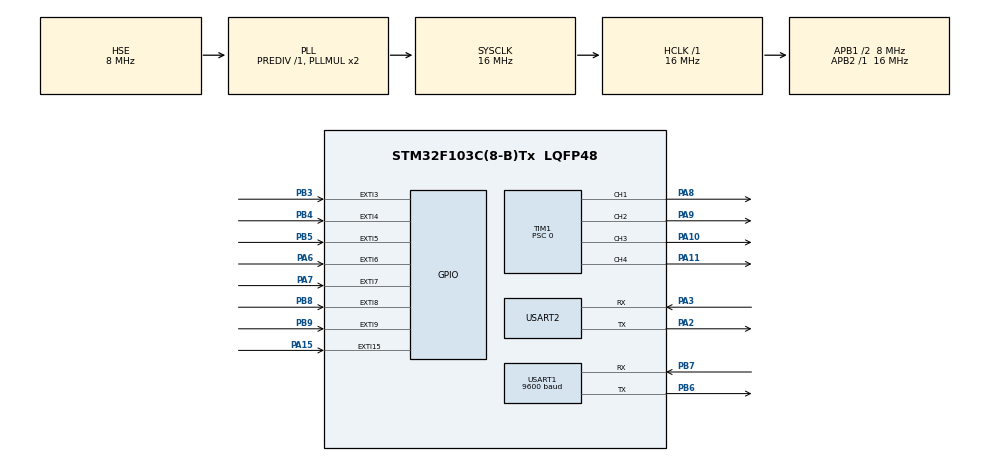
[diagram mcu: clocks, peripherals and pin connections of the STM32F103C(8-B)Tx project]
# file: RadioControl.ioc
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Mcu.Family=STM32F1
Mcu.Name=STM32F103C(8-B)Tx
Mcu.Package=LQFP48
NVIC.EXTI15_10_IRQn=true\:0\:0\:false\:false\:true\:true\:true\:true
NVIC.EXTI3_IRQn=true\:0\:0\:false\:false\:true\:true\:true\:true
NVIC.EXTI4_IRQn=true\:0\:0\:false\:false\:true\:true\:true\:true
NVIC.EXTI9_5_IRQn=true\:0\:0\:false\:false\:true\:true\:true\:true
NVIC.PriorityGroup=NVIC_PRIORITYGROUP_4
NVIC.TIM2_IRQn=true\:0\:0\:false\:false\:true\:true\:true\:true
PA10.Signal=S_TIM1_CH3
PA11.Signal=S_TIM1_CH4
PA13.Mode=Serial_Wire
PA13.Signal=SYS_JTMS-SWDIO
PA14.Mode=Serial_Wire
PA14.Signal=SYS_JTCK-SWCLK
PA15.GPIO_ModeDefaultEXTI=GPIO_MODE_IT_RISING_FALLING
PA15.Signal=GPXTI15
PA2.Mode=Asynchronous
PA2.Signal=USART2_TX
PA3.Mode=Asynchronous
PA3.Signal=USART2_RX
PA6.GPIO_ModeDefaultEXTI=GPIO_MODE_IT_RISING_FALLING
PA6.Signal=GPXTI6
PA7.GPIO_ModeDefaultEXTI=GPIO_MODE_IT_RISING_FALLING
PA7.Signal=GPXTI7
PA8.Signal=S_TIM1_CH1
PA9.Signal=S_TIM1_CH2
PB3.GPIO_ModeDefaultEXTI=GPIO_MODE_IT_RISING_FALLING
PB3.Signal=GPXTI3
PB4.GPIO_ModeDefaultEXTI=GPIO_MODE_IT_RISING_FALLING
PB4.Signal=GPXTI4
PB5.GPIO_ModeDefaultEXTI=GPIO_MODE_IT_RISING_FALLING
PB5.Signal=GPXTI5
PB6.Mode=Asynchronous
PB6.Signal=USART1_TX
PB7.Mode=Asynchronous
PB7.Signal=USART1_RX
PB8.GPIO_ModeDefaultEXTI=GPIO_MODE_IT_RISING_FALLING
PB8.Signal=GPXTI8
PB9.GPIO_ModeDefaultEXTI=GPIO_MODE_IT_RISING_FALLING
PB9.Signal=GPXTI9
PD0-OSC_IN.Mode=HSE-External-Oscillator
PD0-OSC_IN.Signal=RCC_OSC_IN
PD1-OSC_OUT.Mode=HSE-External-Oscillator
PD1-OSC_OUT.Signal=RCC_OSC_OUT
ProjectManager.HeapSize=0x200
ProjectManager.StackSize=0x400
ProjectManager.TargetToolchain=STM32CubeIDE
RCC.AHBFreq_Value=16000000
RCC.APB1CLKDivider=RCC_HCLK_DIV2
RCC.APB1Freq_Value=8000000
RCC.APB1TimFreq_Value=16000000
RCC.APB2Freq_Value=16000000
RCC.APB2TimFreq_Value=16000000
RCC.HCLKFreq_Value=16000000
RCC.PLLSourceVirtual=RCC_PLLSOURCE_HSE
RCC.SYSCLKFreq_VALUE=16000000
RCC.SYSCLKSource=RCC_SYSCLKSOURCE_PLLCLK
RCC.USBFreq_Value=16000000
SH.S_TIM1_CH1.0=TIM1_CH1,PWM Generation1 CH1
SH.S_TIM1_CH2.0=TIM1_CH2,PWM Generation2 CH2
SH.S_TIM1_CH3.0=TIM1_CH3,PWM Generation3 CH3
SH.S_TIM1_CH4.0=TIM1_CH4,PWM Generation4 CH4
TIM1.Channel-PWM\ Generation1\ CH1=TIM_CHANNEL_1
TIM1.Channel-PWM\ Generation2\ CH2=TIM_CHANNEL_2
TIM1.Channel-PWM\ Generation3\ CH3=TIM_CHANNEL_3
TIM1.Channel-PWM\ Generation4\ CH4=TIM_CHANNEL_4
TIM1.Prescaler=0
TIM2.Period=128
TIM2.Prescaler=0
USART1.BaudRate=9600
USART1.VirtualMode=VM_ASYNC
USART2.VirtualMode=VM_ASYNC
VP_TIM2_VS_ClockSourceINT.Mode=Internal
board=custom

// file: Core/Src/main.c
/* USER CODE BEGIN Header */
/**
  ******************************************************************************
  * @file           : main.c
  * @brief          : Main program body
  ******************************************************************************
  * @attention
  *
  * Copyright (c) 2024 STMicroelectronics.
  * All rights reserved.
  *
  * This software is licensed under terms that can be found in the LICENSE file
  * in the root directory of this software component.
  * If no LICENSE file comes with this software, it is provided AS-IS.
  *
  ******************************************************************************
  */
/* USER CODE END Header */
#include "main.h"

 TIM_HandleTypeDef htim1;
TIM_HandleTypeDef htim2;

UART_HandleTypeDef huart1;
UART_HandleTypeDef huart2;

void SystemClock_Config(void);
static void MX_GPIO_Init(void);
static void MX_TIM1_Init(void);
static void MX_USART1_UART_Init(void);
static void MX_USART2_UART_Init(void);
static void MX_TIM2_Init(void);

/* USER CODE BEGIN 0 */
#define RC_NUM_CHANNELS 8

// Set up our receiver channels - these are the channels from the receiver
#define RC_CH1  0 // Right Stick LR
#define RC_CH2  1 // Right Stick UD
#define RC_CH3  2 // Left  Stick UD
#define RC_CH4  3 // Left  Stick LR
#define RC_CH5  4 // Left  Stick LR
#define RC_CH6  5 // Left  Stick LR
#define RC_CH7  6 // Left  Stick LR
#define RC_CH8  7 // Left  Stick LR

// Set up our channel pins - these are the pins that we connect to the receiver
#define RC_CH1_INPUT  GPIO_PIN_9 // receiver pin 1
#define RC_CH2_INPUT  GPIO_PIN_8 // receiver pin 2
#define RC_CH3_INPUT  GPIO_PIN_7 // receiver pin 3
#define RC_CH4_INPUT  GPIO_PIN_6 // receiver pin 4
#define RC_CH5_INPUT  GPIO_PIN_5 // receiver pin 1
#define RC_CH6_INPUT  GPIO_PIN_4 // receiver pin 2
#define RC_CH7_INPUT  GPIO_PIN_3 // receiver pin 3
#define RC_CH8_INPUT  GPIO_PIN_15 // receiver pin 4

#define RC_CH1_PORT  GPIOB // receiver pin 1
#define RC_CH2_PORT  GPIOB // receiver pin 2
#define RC_CH3_PORT  GPIOA // receiver pin 3
#define RC_CH4_PORT  GPIOA // receiver pin 4
#define RC_CH5_PORT  GPIOB // receiver pin 1
#define RC_CH6_PORT  GPIOB // receiver pin 2
#define RC_CH7_PORT  GPIOB // receiver pin 3
#define RC_CH8_PORT  GPIOA // receiver pin 4

#define RC_ON 1
#define RC_OFF 0

uint8_t RC_State = RC_OFF;

// Set up some arrays to store our pulse starts and widths
uint16_t RC_VALUES[RC_NUM_CHANNELS];
uint32_t RC_START[RC_NUM_CHANNELS];
uint16_t RC_SHARED[RC_NUM_CHANNELS];

uint32_t micros = 0;
#define MAX_MOTOR_SPEED 15000
int z = 0, cnt = -1, x=0, y=0;
uint8_t bt, tmp[100];
uint8_t Rx_flag = 0;
int pot;
#define RX2_Size 8
uint8_t Rx2_Buff[RX2_Size];
float Pitch=0, Roll=0, Heading=0;
float Pitch_correction = 0, Roll_correction = 0, Heading_correction = 0;
float Pitch_set = 0, Roll_set = 0, Heading_set = 0;
float Roll_K_p = 30, Pitch_K_p = 30, Heading_K_p = 70;
uint8_t GY_A5[] = {0xA5}, GY_54[] = {0x54}, GY_51[] = {0x51}, GY_55[] = {0x55}, GY_Init_Command[]    = {0xA5, 0x54, 0xA5, 0x51}, GY_Request_Command[] = {0xA5, 0x51}, GY_Set_Command[] = {0xA5, 0x55};
void initGY(){
	HAL_Delay(500);
	HAL_UART_Transmit(&huart2, GY_A5, 1, 100);
	HAL_UART_Transmit(&huart2, GY_54, 1, 100);
	HAL_Delay(500);
	HAL_UART_Transmit(&huart2, GY_A5, 1, 100);
	HAL_UART_Transmit(&huart2, GY_51, 1, 100);
	HAL_Delay(500);
	HAL_UART_Transmit(&huart2, GY_A5, 1, 100);
	HAL_UART_Transmit(&huart2, GY_55, 1, 100);
	HAL_Delay(500);
}
void readGY(){
	HAL_UART_Transmit(&huart2, GY_A5, 1, 100);
	HAL_UART_Transmit(&huart2, GY_51, 1, 100);
	HAL_UART_Receive(&huart2, Rx2_Buff, RX2_Size, 100);
	for(int i=0; i<RX2_Size; i++){
		if(Rx2_Buff[i] == 0xAA){
			Heading = (int16_t)(Rx2_Buff[(i+1)%8]<<8 | Rx2_Buff[(i+2)%8])/100.00 + Heading_set;
			Pitch = (int16_t)(Rx2_Buff[(i+3)%8]<<8 | Rx2_Buff[(i+4)%8])/100.00 + Pitch_set + y;
			Roll = (int16_t)(Rx2_Buff[(i+5)%8]<<8 | Rx2_Buff[(i+6)%8])/100.00 + Roll_set + x;

			if(Heading > 180) Heading -= 360;
			if(Heading <-180) Heading += 360;
			if(Pitch > 180) Pitch -= 360;
			if(Pitch <-180) Pitch += 360;
			if(Roll > 180) Roll -= 360;
			if(Roll <-180) Roll += 360;
		}
	}
}
void delay(long int _time){
	for(int i=0; i<_time*1000;i++);
}
void motor(int M1, int M2, int M3, int M4){
//	M1 -= 2500;
//	M3 -= 500;
//	if(M3 > 20) M3 += 128;
//	if(M4 > 20) M4 += 192;
	if(M1 > MAX_MOTOR_SPEED) M1 = MAX_MOTOR_SPEED;
	if(M1 < 0)   						 M1 = 0;
	if(M2 > MAX_MOTOR_SPEED) M2 = MAX_MOTOR_SPEED;
	if(M2 < 0)  						 M2 = 0;
	if(M3 > MAX_MOTOR_SPEED) M3 = MAX_MOTOR_SPEED;
	if(M3 < 0) 							 M3 = 0;
	if(M4 > MAX_MOTOR_SPEED) M4 = MAX_MOTOR_SPEED;
	if(M4 < 0) 							 M4 = 0;

	TIM1->CCR1 = 16000 + M3; //M3
	TIM1->CCR2 = 16000 + M2; //M2
	TIM1->CCR3 = 16000 + M1; //M1
	TIM1->CCR4 = 16000 + M4; //M4
}
void HAL_UART_RxCpltCallback(UART_HandleTypeDef *huart)
{
	cnt++;
	tmp[cnt] = bt;
	if(cnt >= 100){
		for(int i=0; i<100; i++) tmp[i] = 0;
		cnt = -1;
	}
	Rx_flag = 1;
	HAL_UART_Receive_IT(&huart1, &bt, 1);
}
void HAL_GPIO_EXTI_Callback(uint16_t GPIO_Pin)
{
	if(GPIO_Pin == RC_CH1_INPUT) {
		if(HAL_GPIO_ReadPin(RC_CH1_PORT, RC_CH1_INPUT)){
			RC_START[RC_CH1] = micros;
		}else{
			uint16_t rc_compare = (uint16_t)(micros - RC_START[RC_CH1]);
			RC_SHARED[RC_CH1] = rc_compare;
		}
	}
	if(GPIO_Pin == RC_CH2_INPUT) {
		if(HAL_GPIO_ReadPin(RC_CH2_PORT, RC_CH2_INPUT)){
			RC_START[RC_CH2] = micros;
		}else{
			uint16_t rc_compare = (uint16_t)(micros - RC_START[RC_CH2]);
			RC_SHARED[RC_CH2] = rc_compare;
		}
	}
	if(GPIO_Pin == RC_CH3_INPUT) {
		if(HAL_GPIO_ReadPin(RC_CH3_PORT, RC_CH3_INPUT)){
			RC_START[RC_CH3] = micros;
		}else{
			uint16_t rc_compare = (uint16_t)(micros - RC_START[RC_CH3]);
			RC_SHARED[RC_CH3] = rc_compare;
		}
	}
	if(GPIO_Pin == RC_CH4_INPUT) {
		if(HAL_GPIO_ReadPin(RC_CH4_PORT, RC_CH4_INPUT)){
			RC_START[RC_CH4] = micros;
		}else{
			uint16_t rc_compare = (uint16_t)(micros - RC_START[RC_CH4]);
			RC_SHARED[RC_CH4] = rc_compare;
		}
	}
	if(GPIO_Pin == RC_CH5_INPUT) {
		if(HAL_GPIO_ReadPin(RC_CH5_PORT, RC_CH5_INPUT)){
			RC_START[RC_CH5] = micros;
		}else{
			uint16_t rc_compare = (uint16_t)(micros - RC_START[RC_CH5]);
			RC_SHARED[RC_CH5] = rc_compare;
		}
	}
	if(GPIO_Pin == RC_CH6_INPUT) {
		if(HAL_GPIO_ReadPin(RC_CH6_PORT, RC_CH6_INPUT)){
			RC_START[RC_CH6] = micros;
		}else{
			uint16_t rc_compare = (uint16_t)(micros - RC_START[RC_CH6]);
			RC_SHARED[RC_CH6] = rc_compare;
		}
	}
	if(GPIO_Pin == RC_CH7_INPUT) {
		if(HAL_GPIO_ReadPin(RC_CH7_PORT, RC_CH7_INPUT)){
			RC_START[RC_CH7] = micros;
		}else{
			uint16_t rc_compare = (uint16_t)(micros - RC_START[RC_CH7]);
			RC_SHARED[RC_CH7] = rc_compare;
		}
	}
	if(GPIO_Pin == RC_CH8_INPUT) {
		if(HAL_GPIO_ReadPin(RC_CH8_PORT, RC_CH8_INPUT)){
			RC_START[RC_CH8] = micros;
		}else{
			uint16_t rc_compare = (uint16_t)(micros - RC_START[RC_CH8]);
			RC_SHARED[RC_CH8] = rc_compare;
		}
	}
	if(RC_SHARED[RC_CH7] > 70) RC_State = RC_OFF;
	else RC_State = RC_ON;
}
void HAL_TIM_PeriodElapsedCallback(TIM_HandleTypeDef *htim)
{
  if(htim->Instance == TIM2)
  {
    micros ++;
  }
}
/* USER CODE END 0 */

int main(void)
{

  /* MCU Configuration--------------------------------------------------------*/

  /* Reset of all peripherals, Initializes the Flash interface and the Systick. */
  HAL_Init();

  /* Configure the system clock */
  SystemClock_Config();

  /* Initialize all configured peripherals */
  MX_GPIO_Init();
  MX_TIM1_Init();
  MX_USART1_UART_Init();
  MX_USART2_UART_Init();
  MX_TIM2_Init();
  /* USER CODE BEGIN 2 */
  	HAL_TIM_Base_Start_IT(&htim2);
	HAL_TIM_PWM_Start(&htim1, TIM_CHANNEL_1);
	HAL_TIM_PWM_Start(&htim1, TIM_CHANNEL_2);
	HAL_TIM_PWM_Start(&htim1, TIM_CHANNEL_3);
	HAL_TIM_PWM_Start(&htim1, TIM_CHANNEL_4);
	motor(0,0,0,0);
//	initGY();
//	HAL_UART_Receive_IT(&huart1, &bt, 1);

  /* USER CODE END 2 */

  /* Infinite loop */
  /* USER CODE BEGIN WHILE */
  while (1)
  {
	  z = (110 - RC_SHARED[RC_CH2]) * 300;
	  x = -(110 - RC_SHARED[RC_CH1] - 25) * 100;
	  y = -(110 - RC_SHARED[RC_CH3] - 27) * 100;
	  if(x >= -400 && x <= 400) x = 0;
	  if(y >= -400 && y <= 400) y = 0;
	  if(z < 0) z = 0;
	  if(z == 0) {x = 0; y = 0;}

	  if(RC_State == RC_ON){
//		  motor(z,z,z,z);
		  motor(
			  z - y - x,
			  z + y - x,
			  z + y + x,
			  z - y + x
		  );
	  }
	  else{
		  motor(0,0,0,0);
	  }
//	  if(Rx_flag == 1){
//		if(tmp[cnt] == '\n'){
//			for(int i = cnt-1; i >= cnt - 5 && tmp[i] != '\n'; i--){
//				if(tmp[i] == 'J'){
//					z = 0;
//					for(int j=i+1; j<cnt; j++){
//						z = z*10 + (tmp[j]-'0');
//					}
//					z = z*32;
//					i = -1;
//				}
//				if(tmp[i] == 'X')	Roll_set  += 0.5;
//				if(tmp[i] == 'Y')	Roll_set  -= 0.5;
//				if(tmp[i] == 'N')	Pitch_set += 0.5;
//				if(tmp[i] == 'M')	Pitch_set -= 0.5;
//				if(tmp[i] == 'F')	y = -15;
//				if(tmp[i] == 'G')	y = 15;
//				if(tmp[i] == 'R')	x = -15;
//				if(tmp[i] == 'L')	x = 15;
//				if(tmp[i] == 'S')	{
//					x = 0;
//					y = 0;
//				}
//			}
//		}
//		Rx_flag = 0;
//	}
//
//
//
//
//	if(z == 0){
//		Roll_correction = 0;
//		Pitch_correction = 0;
//		Heading_correction = 0;
//	}
//	else{
//		Roll_correction = Roll * Roll_K_p;
//		Pitch_correction = Pitch * Pitch_K_p;
//		Heading_correction = Heading * Heading_K_p;
//	}
//
//	if(Roll > 40 || Roll < -40 || Pitch > 40 || Pitch < -40){
//		motor(0,0,0,0);
//	}
//	else {
//		motor(z, z, z, z);
////			motor(
////				z - Roll_correction + Pitch_correction + Heading_correction,
////				z - Roll_correction - Pitch_correction - Heading_correction,
////				z + Roll_correction - Pitch_correction + Heading_correction,
////				z + Roll_correction + Pitch_correction - Heading_correction
////			);
//	}
	//motor(0, 0, 0, 0);
	//readGY();
    /* USER CODE END WHILE */

  }
}

void SystemClock_Config(void)
{
  RCC_OscInitTypeDef RCC_OscInitStruct = {0};
  RCC_ClkInitTypeDef RCC_ClkInitStruct = {0};

  /** Initializes the RCC Oscillators according to the specified parameters
  * in the RCC_OscInitTypeDef structure.
  */
  RCC_OscInitStruct.OscillatorType = RCC_OSCILLATORTYPE_HSE;
  RCC_OscInitStruct.HSEState = RCC_HSE_ON;
  RCC_OscInitStruct.HSEPredivValue = RCC_HSE_PREDIV_DIV1;
  RCC_OscInitStruct.HSIState = RCC_HSI_ON;
  RCC_OscInitStruct.PLL.PLLState = RCC_PLL_ON;
  RCC_OscInitStruct.PLL.PLLSource = RCC_PLLSOURCE_HSE;
  RCC_OscInitStruct.PLL.PLLMUL = RCC_PLL_MUL2;
  if (HAL_RCC_OscConfig(&RCC_OscInitStruct) != HAL_OK)
  {
    Error_Handler();
  }

  /** Initializes the CPU, AHB and APB buses clocks
  */
  RCC_ClkInitStruct.ClockType = RCC_CLOCKTYPE_HCLK|RCC_CLOCKTYPE_SYSCLK
                              |RCC_CLOCKTYPE_PCLK1|RCC_CLOCKTYPE_PCLK2;
  RCC_ClkInitStruct.SYSCLKSource = RCC_SYSCLKSOURCE_PLLCLK;
  RCC_ClkInitStruct.AHBCLKDivider = RCC_SYSCLK_DIV1;
  RCC_ClkInitStruct.APB1CLKDivider = RCC_HCLK_DIV2;
  RCC_ClkInitStruct.APB2CLKDivider = RCC_HCLK_DIV1;

  if (HAL_RCC_ClockConfig(&RCC_ClkInitStruct, FLASH_LATENCY_0) != HAL_OK)
  {
    Error_Handler();
  }
}

static void MX_TIM1_Init(void)
{

  TIM_MasterConfigTypeDef sMasterConfig = {0};
  TIM_OC_InitTypeDef sConfigOC = {0};
  TIM_BreakDeadTimeConfigTypeDef sBreakDeadTimeConfig = {0};

  htim1.Instance = TIM1;
  htim1.Init.Prescaler = 0;
  htim1.Init.CounterMode = TIM_COUNTERMODE_UP;
  htim1.Init.Period = 65535;
  htim1.Init.ClockDivision = TIM_CLOCKDIVISION_DIV1;
  htim1.Init.RepetitionCounter = 0;
  htim1.Init.AutoReloadPreload = TIM_AUTORELOAD_PRELOAD_DISABLE;
  if (HAL_TIM_PWM_Init(&htim1) != HAL_OK)
  {
    Error_Handler();
  }
  sMasterConfig.MasterOutputTrigger = TIM_TRGO_RESET;
  sMasterConfig.MasterSlaveMode = TIM_MASTERSLAVEMODE_DISABLE;
  if (HAL_TIMEx_MasterConfigSynchronization(&htim1, &sMasterConfig) != HAL_OK)
  {
    Error_Handler();
  }
  sConfigOC.OCMode = TIM_OCMODE_PWM1;
  sConfigOC.Pulse = 0;
  sConfigOC.OCPolarity = TIM_OCPOLARITY_HIGH;
  sConfigOC.OCNPolarity = TIM_OCNPOLARITY_HIGH;
  sConfigOC.OCFastMode = TIM_OCFAST_DISABLE;
  sConfigOC.OCIdleState = TIM_OCIDLESTATE_RESET;
  sConfigOC.OCNIdleState = TIM_OCNIDLESTATE_RESET;
  if (HAL_TIM_PWM_ConfigChannel(&htim1, &sConfigOC, TIM_CHANNEL_1) != HAL_OK)
  {
    Error_Handler();
  }
  if (HAL_TIM_PWM_ConfigChannel(&htim1, &sConfigOC, TIM_CHANNEL_2) != HAL_OK)
  {
    Error_Handler();
  }
  if (HAL_TIM_PWM_ConfigChannel(&htim1, &sConfigOC, TIM_CHANNEL_3) != HAL_OK)
  {
    Error_Handler();
  }
  if (HAL_TIM_PWM_ConfigChannel(&htim1, &sConfigOC, TIM_CHANNEL_4) != HAL_OK)
  {
    Error_Handler();
  }
  sBreakDeadTimeConfig.OffStateRunMode = TIM_OSSR_DISABLE;
  sBreakDeadTimeConfig.OffStateIDLEMode = TIM_OSSI_DISABLE;
  sBreakDeadTimeConfig.LockLevel = TIM_LOCKLEVEL_OFF;
  sBreakDeadTimeConfig.DeadTime = 0;
  sBreakDeadTimeConfig.BreakState = TIM_BREAK_DISABLE;
  sBreakDeadTimeConfig.BreakPolarity = TIM_BREAKPOLARITY_HIGH;
  sBreakDeadTimeConfig.AutomaticOutput = TIM_AUTOMATICOUTPUT_DISABLE;
  if (HAL_TIMEx_ConfigBreakDeadTime(&htim1, &sBreakDeadTimeConfig) != HAL_OK)
  {
    Error_Handler();
  }
  HAL_TIM_MspPostInit(&htim1);

}

static void MX_TIM2_Init(void)
{

  TIM_ClockConfigTypeDef sClockSourceConfig = {0};
  TIM_MasterConfigTypeDef sMasterConfig = {0};

  htim2.Instance = TIM2;
  htim2.Init.Prescaler = 0;
  htim2.Init.CounterMode = TIM_COUNTERMODE_UP;
  htim2.Init.Period = 128;
  htim2.Init.ClockDivision = TIM_CLOCKDIVISION_DIV1;
  htim2.Init.AutoReloadPreload = TIM_AUTORELOAD_PRELOAD_DISABLE;
  if (HAL_TIM_Base_Init(&htim2) != HAL_OK)
  {
    Error_Handler();
  }
  sClockSourceConfig.ClockSource = TIM_CLOCKSOURCE_INTERNAL;
  if (HAL_TIM_ConfigClockSource(&htim2, &sClockSourceConfig) != HAL_OK)
  {
    Error_Handler();
  }
  sMasterConfig.MasterOutputTrigger = TIM_TRGO_RESET;
  sMasterConfig.MasterSlaveMode = TIM_MASTERSLAVEMODE_DISABLE;
  if (HAL_TIMEx_MasterConfigSynchronization(&htim2, &sMasterConfig) != HAL_OK)
  {
    Error_Handler();
  }

}

static void MX_USART1_UART_Init(void)
{

  huart1.Instance = USART1;
  huart1.Init.BaudRate = 9600;
  huart1.Init.WordLength = UART_WORDLENGTH_8B;
  huart1.Init.StopBits = UART_STOPBITS_1;
  huart1.Init.Parity = UART_PARITY_NONE;
  huart1.Init.Mode = UART_MODE_TX_RX;
  huart1.Init.HwFlowCtl = UART_HWCONTROL_NONE;
  huart1.Init.OverSampling = UART_OVERSAMPLING_16;
  if (HAL_UART_Init(&huart1) != HAL_OK)
  {
    Error_Handler();
  }

}

static void MX_USART2_UART_Init(void)
{

  huart2.Instance = USART2;
  huart2.Init.BaudRate = 115200;
  huart2.Init.WordLength = UART_WORDLENGTH_8B;
  huart2.Init.StopBits = UART_STOPBITS_1;
  huart2.Init.Parity = UART_PARITY_NONE;
  huart2.Init.Mode = UART_MODE_TX_RX;
  huart2.Init.HwFlowCtl = UART_HWCONTROL_NONE;
  huart2.Init.OverSampling = UART_OVERSAMPLING_16;
  if (HAL_UART_Init(&huart2) != HAL_OK)
  {
    Error_Handler();
  }

}

static void MX_GPIO_Init(void)
{
  GPIO_InitTypeDef GPIO_InitStruct = {0};

  /* GPIO Ports Clock Enable */
  __HAL_RCC_GPIOD_CLK_ENABLE();
  __HAL_RCC_GPIOA_CLK_ENABLE();
  __HAL_RCC_GPIOB_CLK_ENABLE();

  /*Configure GPIO pins : PA6 PA7 PA15 */
  GPIO_InitStruct.Pin = GPIO_PIN_6|GPIO_PIN_7|GPIO_PIN_15;
  GPIO_InitStruct.Mode = GPIO_MODE_IT_RISING_FALLING;
  GPIO_InitStruct.Pull = GPIO_NOPULL;
  HAL_GPIO_Init(GPIOA, &GPIO_InitStruct);

  /*Configure GPIO pins : PB3 PB4 PB5 PB8
                           PB9 */
  GPIO_InitStruct.Pin = GPIO_PIN_3|GPIO_PIN_4|GPIO_PIN_5|GPIO_PIN_8
                          |GPIO_PIN_9;
  GPIO_InitStruct.Mode = GPIO_MODE_IT_RISING_FALLING;
  GPIO_InitStruct.Pull = GPIO_NOPULL;
  HAL_GPIO_Init(GPIOB, &GPIO_InitStruct);

  /* EXTI interrupt init*/
  HAL_NVIC_SetPriority(EXTI3_IRQn, 0, 0);
  HAL_NVIC_EnableIRQ(EXTI3_IRQn);

  HAL_NVIC_SetPriority(EXTI4_IRQn, 0, 0);
  HAL_NVIC_EnableIRQ(EXTI4_IRQn);

  HAL_NVIC_SetPriority(EXTI9_5_IRQn, 0, 0);
  HAL_NVIC_EnableIRQ(EXTI9_5_IRQn);

  HAL_NVIC_SetPriority(EXTI15_10_IRQn, 0, 0);
  HAL_NVIC_EnableIRQ(EXTI15_10_IRQn);

}

void Error_Handler(void)
{
  __disable_irq();
  while (1)
  {
  }
}
